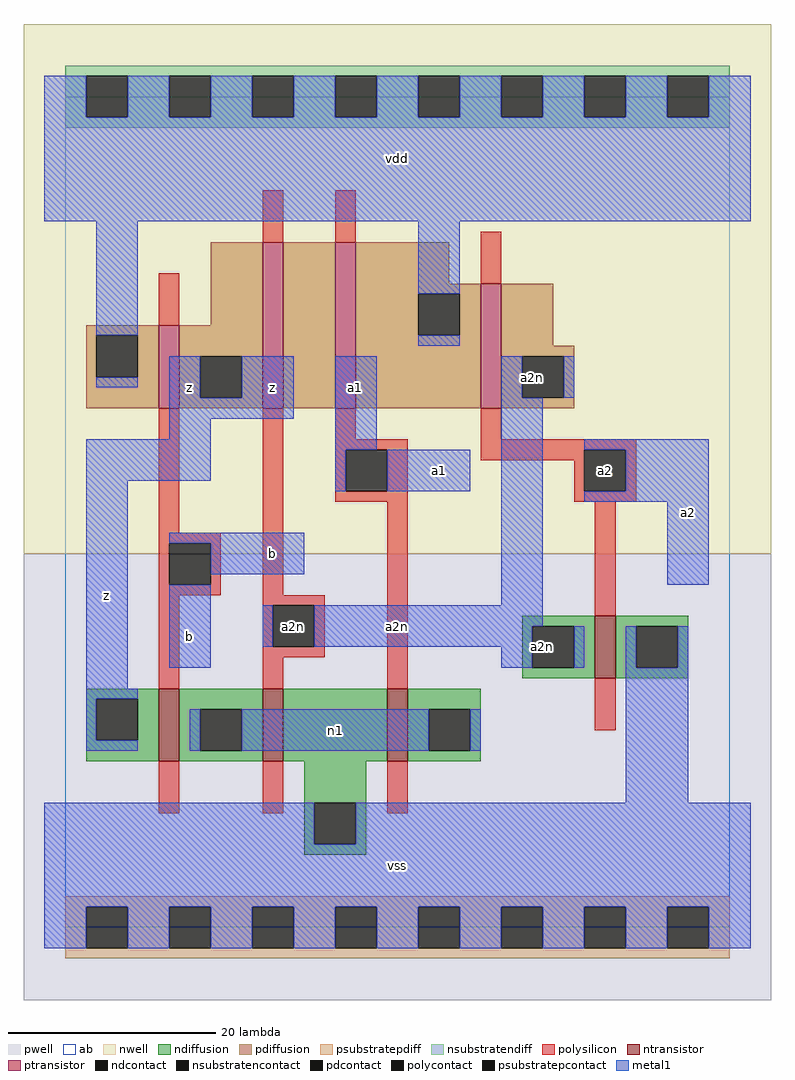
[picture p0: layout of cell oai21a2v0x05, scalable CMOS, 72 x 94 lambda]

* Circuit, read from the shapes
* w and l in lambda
.subckt oai21a2v0x05 a1 a2 a2n b n1 vdd vss z
M1 n1 b z vss nfet w=7 l=2
M2 vss a2n n1 vss nfet w=7 l=2
M3 n1 a1 vss vss nfet w=7 l=2
M4 vss a2 a2n vss nfet w=6 l=2
M5 z b vdd vdd pfet w=8 l=2
M6 n2 a2n z vdd pfet w=16 l=2
M7 vdd a1 n2 vdd pfet w=16 l=2
M8 a2n a2 vdd vdd pfet w=12 l=2
.ends

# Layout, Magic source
magic
tech scmos
<< ab >>
rect 0 0 64 80
<< pwell >>
rect -4 -7 68 36
<< nwell >>
rect -4 36 68 87
<< polysilicon >>
rect 19 66 21 71
rect 26 66 28 71
rect 9 58 11 63
rect 40 62 42 67
rect 9 38 11 50
rect 9 37 15 38
rect 9 33 10 37
rect 14 33 15 37
rect 9 32 15 33
rect 19 32 21 50
rect 26 47 28 50
rect 40 47 42 50
rect 26 46 33 47
rect 26 42 27 46
rect 31 42 33 46
rect 40 46 55 47
rect 40 45 50 46
rect 26 41 33 42
rect 49 42 50 45
rect 54 42 55 46
rect 49 41 55 42
rect 9 23 11 32
rect 19 31 25 32
rect 19 27 20 31
rect 24 27 25 31
rect 19 26 25 27
rect 19 23 21 26
rect 31 23 33 41
rect 51 30 53 41
rect 51 19 53 24
rect 9 11 11 16
rect 19 11 21 16
rect 31 11 33 16
<< ndiffusion >>
rect 44 29 51 30
rect 44 25 45 29
rect 49 25 51 29
rect 44 24 51 25
rect 53 29 60 30
rect 53 25 55 29
rect 59 25 60 29
rect 53 24 60 25
rect 2 22 9 23
rect 2 18 3 22
rect 7 18 9 22
rect 2 16 9 18
rect 11 21 19 23
rect 11 17 13 21
rect 17 17 19 21
rect 11 16 19 17
rect 21 16 31 23
rect 33 21 40 23
rect 33 17 35 21
rect 39 17 40 21
rect 33 16 40 17
rect 23 12 29 16
rect 23 8 24 12
rect 28 8 29 12
rect 23 7 29 8
<< pdiffusion >>
rect 14 58 19 66
rect 2 57 9 58
rect 2 53 3 57
rect 7 53 9 57
rect 2 50 9 53
rect 11 55 19 58
rect 11 51 13 55
rect 17 51 19 55
rect 11 50 19 51
rect 21 50 26 66
rect 28 62 37 66
rect 28 61 40 62
rect 28 57 34 61
rect 38 57 40 61
rect 28 50 40 57
rect 42 56 47 62
rect 42 55 49 56
rect 42 51 44 55
rect 48 51 49 55
rect 42 50 49 51
<< metal1 >>
rect -2 78 2 82
rect 6 78 10 82
rect 14 78 18 82
rect 22 78 26 82
rect 30 78 34 82
rect 38 78 42 82
rect 46 78 50 82
rect 54 78 58 82
rect 62 78 66 82
rect -2 68 66 78
rect 3 57 7 68
rect 34 61 38 68
rect 34 56 38 57
rect 3 52 7 53
rect 10 51 13 55
rect 17 51 22 55
rect 10 49 22 51
rect 10 47 14 49
rect 2 43 14 47
rect 26 46 30 55
rect 42 51 44 55
rect 48 51 49 55
rect 2 23 6 43
rect 26 42 27 46
rect 31 42 39 46
rect 10 37 23 38
rect 14 34 23 37
rect 10 25 14 33
rect 42 31 46 51
rect 50 46 62 47
rect 54 42 62 46
rect 50 41 62 42
rect 58 33 62 41
rect 19 27 20 31
rect 24 29 46 31
rect 24 27 45 29
rect 42 25 45 27
rect 49 25 50 29
rect 54 25 55 29
rect 59 25 60 29
rect 2 22 7 23
rect 2 18 3 22
rect 2 17 7 18
rect 12 17 13 21
rect 17 17 35 21
rect 39 17 40 21
rect 54 12 60 25
rect -2 8 24 12
rect 28 8 66 12
rect -2 2 66 8
rect -2 -2 2 2
rect 6 -2 10 2
rect 14 -2 18 2
rect 22 -2 26 2
rect 30 -2 34 2
rect 38 -2 42 2
rect 46 -2 50 2
rect 54 -2 58 2
rect 62 -2 66 2
<< ntransistor >>
rect 51 24 53 30
rect 9 16 11 23
rect 19 16 21 23
rect 31 16 33 23
<< ptransistor >>
rect 9 50 11 58
rect 19 50 21 66
rect 26 50 28 66
rect 40 50 42 62
<< polycontact >>
rect 10 33 14 37
rect 27 42 31 46
rect 50 42 54 46
rect 20 27 24 31
<< ndcontact >>
rect 45 25 49 29
rect 55 25 59 29
rect 3 18 7 22
rect 13 17 17 21
rect 35 17 39 21
rect 24 8 28 12
<< pdcontact >>
rect 3 53 7 57
rect 13 51 17 55
rect 34 57 38 61
rect 44 51 48 55
<< psubstratepcontact >>
rect 2 -2 6 2
rect 10 -2 14 2
rect 18 -2 22 2
rect 26 -2 30 2
rect 34 -2 38 2
rect 42 -2 46 2
rect 50 -2 54 2
rect 58 -2 62 2
<< nsubstratencontact >>
rect 2 78 6 82
rect 10 78 14 82
rect 18 78 22 82
rect 26 78 30 82
rect 34 78 38 82
rect 42 78 46 82
rect 50 78 54 82
rect 58 78 62 82
<< psubstratepdiff >>
rect 0 2 64 3
rect 0 -2 2 2
rect 6 -2 10 2
rect 14 -2 18 2
rect 22 -2 26 2
rect 30 -2 34 2
rect 38 -2 42 2
rect 46 -2 50 2
rect 54 -2 58 2
rect 62 -2 64 2
rect 0 -3 64 -2
<< nsubstratendiff >>
rect 0 82 64 83
rect 0 78 2 82
rect 6 78 10 82
rect 14 78 18 82
rect 22 78 26 82
rect 30 78 34 82
rect 38 78 42 82
rect 46 78 50 82
rect 54 78 58 82
rect 62 78 64 82
rect 0 77 64 78
<< labels >>
rlabel polycontact 22 29 22 29 6 a2n
rlabel metal1 4 32 4 32 6 z
rlabel metal1 12 28 12 28 6 b
rlabel metal1 20 36 20 36 6 b
rlabel metal1 20 52 20 52 6 z
rlabel metal1 12 52 12 52 6 z
rlabel metal1 32 6 32 6 6 vss
rlabel metal1 36 44 36 44 6 a1
rlabel metal1 28 52 28 52 6 a1
rlabel metal1 32 74 32 74 6 vdd
rlabel metal1 26 19 26 19 6 n1
rlabel ndcontact 46 27 46 27 6 a2n
rlabel metal1 32 29 32 29 6 a2n
rlabel pdcontact 45 53 45 53 6 a2n
rlabel polycontact 52 44 52 44 6 a2
rlabel metal1 60 40 60 40 6 a2
<< end >>
